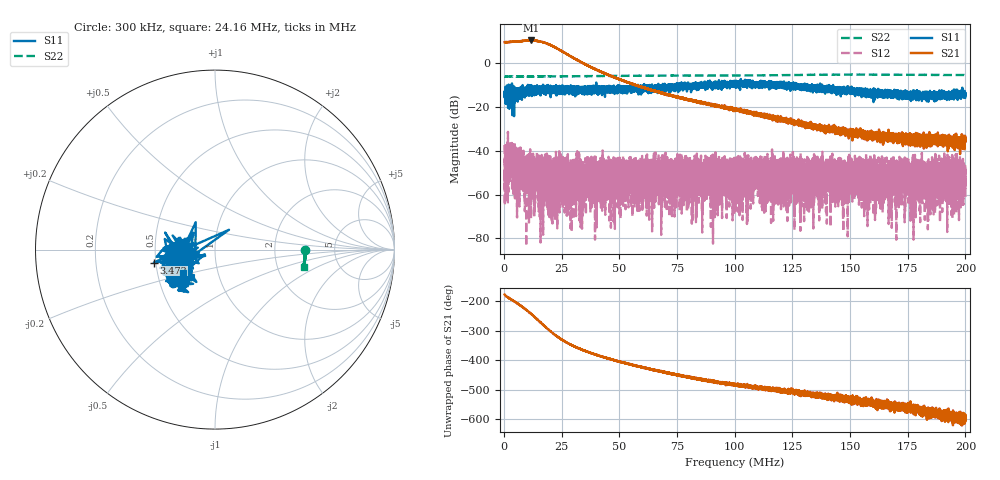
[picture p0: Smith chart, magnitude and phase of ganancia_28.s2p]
# Hz S DB R 50
! CMT, M5065, 19127446, 24.2.4/2
! Date: 11/8/2024 2:59:55 PM
! Data: Format (Calibration Info)
! Freq	S11:dB/Ang(F2)	S21:dB/Ang(F2)	S12:dB/Ang(F2)	S22:dB/Ang(F2)
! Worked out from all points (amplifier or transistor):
!   9000 points, 300 kHz to 200 MHz, reference 50 ohm
!   highest |S21| = 10.4 dB at 11.8 MHz (marker M1)
!   |S21| within 3 dB of that: start of sweep to 21.8 MHz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
!   unconditionally stable (mu >= 1): start of sweep to end of sweep
!   at 33.59 MHz: K = 113.31, MAG = 2.1 dB, |S12| = -50.8 dB
!   at 100.2 MHz: K = 1432.64, MAG = -19.0 dB, |S12| = -52.3 dB
!   at 200 MHz: K = 26753.33, MAG = -33.9 dB, |S12| = -62.3 dB
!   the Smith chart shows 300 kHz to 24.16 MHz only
!   S11 on the Smith chart (normalised r, x): 300 kHz: 0.69, -0.01; 3.473 MHz: 0.49, -0.08; 24.16 MHz: 0.68, -0.19
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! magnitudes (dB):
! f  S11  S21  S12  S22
! 300 kHz  -14.6  9.7  -37.4  -5.9
! 1.321 MHz  -17.0  9.7  -52.2  -6.0
! 3.473 MHz  -9.2  9.8  -49.3  -6.0
! 11.8 MHz  -11.6  10.4  -60.7  -6.0
! 16.08 MHz  -12.7  9.9  -46.6  -5.9
! 24.16 MHz  -13.1  6.1  -68.1  -5.9
! 28.39 MHz  -12.2  3.5  -48.0  -5.9
! 32.32 MHz  -10.4  1.3  -51.8  -5.9
! 33.59 MHz  -11.8  0.5  -50.8  -5.9
! 66.87 MHz  -11.4  -12.9  -51.4  -5.7
! 85.65 MHz  -9.9  -17.5  -53.5  -5.6
! 87.67 MHz  -9.8  -18.3  -47.9  -5.6
! 93.57 MHz  -11.0  -19.5  -57.4  -5.6
! 95.59 MHz  -9.7  -20.5  -53.5  -5.6
! 100.2 MHz  -8.6  -21.0  -52.3  -5.6
! 133.4 MHz  -10.3  -28.5  -62.7  -5.3
! 166.7 MHz  -13.4  -33.1  -45.7  -5.2
! 181.3 MHz  -14.0  -36.3  -63.9  -5.3
! 185.8 MHz  -14.9  -34.1  -64.0  -5.3
! 197.8 MHz  -15.0  -34.1  -53.4  -5.4
! 199 MHz  -13.2  -39.2  -47.6  -5.3
! 200 MHz  -14.1  -35.6  -62.3  -5.3
